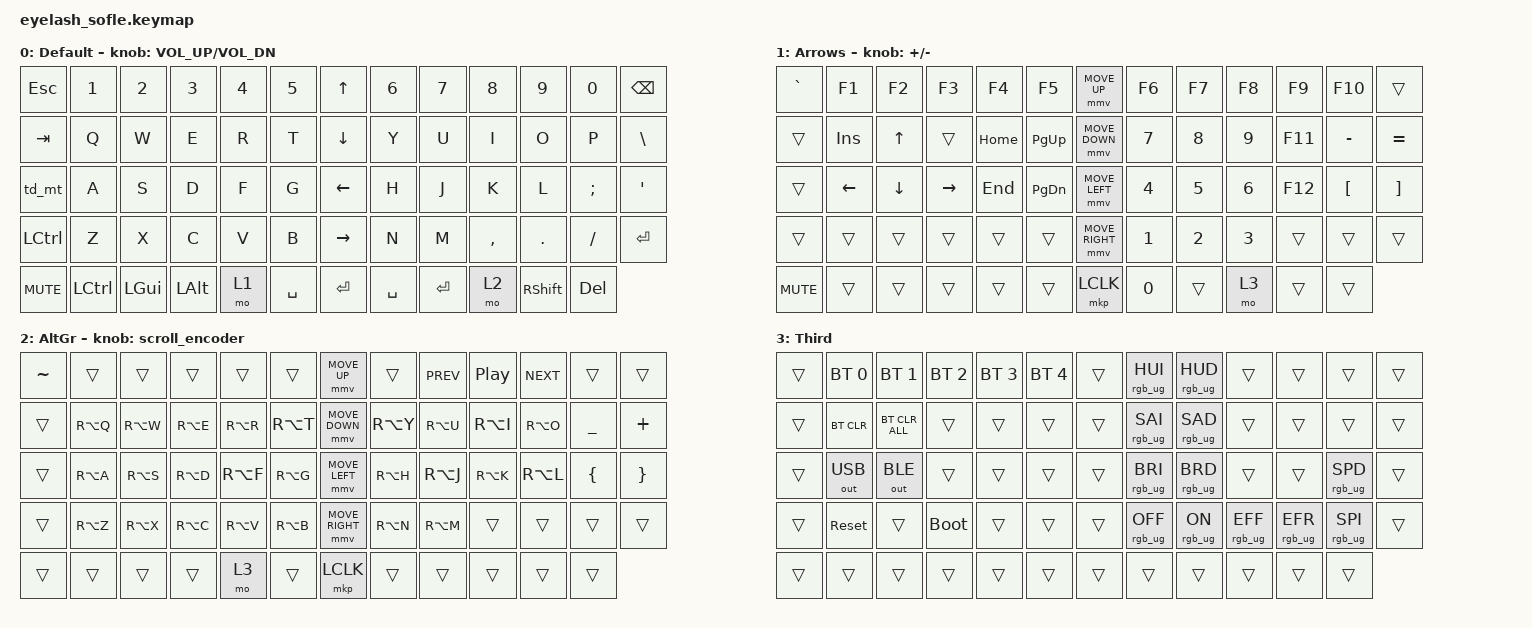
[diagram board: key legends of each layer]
#define ZMK_POINTING_DEFAULT_MOVE_VAL 1200  // 600
#define ZMK_POINTING_DEFAULT_SCRL_VAL 35    // 10
#include <input/processors.dtsi>
#include <behaviors.dtsi>
#include <dt-bindings/zmk/bt.h>
#include <dt-bindings/zmk/keys.h>
#include <dt-bindings/zmk/outputs.h>
#include <dt-bindings/zmk/pointing.h>
#include <dt-bindings/zmk/ext_power.h>
#include <dt-bindings/zmk/rgb.h>
#include <zephyr/dt-bindings/input/input-event-codes.h>

/ {
  zip_scroll_scaler: zip_scroll_scaler {
    compatible = "zmk,input-processor-scaler";
    #input-processor-cells = <2>;
    type = <INPUT_EV_REL>;
    codes = <INPUT_REL_WHEEL INPUT_REL_HWHEEL>;
    track-remainders;
  };
};

&mmv_input_listener {
       input-processors = <&zip_xy_scaler 2 1>;
};

&msc_input_listener {
       input-processors = <&zip_scroll_scaler 2 1>;
};

&msc {
    acceleration-exponent = <0>;      // 0
    time-to-max-speed-ms = <0>;       // 300
    delay-ms = <0>;                   // 0
};

&mmv {
    time-to-max-speed-ms = <400>;
    acceleration-exponent = <1>;
};


/ {
    scroll_encoder: scroll_encoder {
        compatible = "zmk,behavior-sensor-rotate";
        #sensor-binding-cells = <0>;
        bindings = <&msc SCRL_DOWN>, <&msc SCRL_UP>;

        tap-ms = <30>;
    };

    behaviors {
        td_mt: tap_dance_mod_tap {
            compatible = "zmk,behavior-tap-dance";
            #binding-cells = <0>;
            tapping-term-ms = <200>;
            bindings = <&kp LSHIFT>, <&kp CAPSLOCK>;
        };
    };

    keymap {
        compatible = "zmk,keymap";

        layer0 {
            bindings = <
&kp ESC     &kp N1     &kp N2        &kp N3        &kp N4  &kp N5       &kp UP_ARROW     &kp N6     &kp N7     &kp N8     &kp N9           &kp N0      &kp BACKSPACE
&kp TAB     &kp Q      &kp W         &kp E         &kp R   &kp T        &kp DOWN_ARROW   &kp Y      &kp U      &kp I      &kp O            &kp P       &kp BSLH
&td_mt      &kp A      &kp S         &kp D         &kp F   &kp G        &kp LEFT_ARROW   &kp H      &kp J      &kp K      &kp L            &kp SEMI    &kp APOS
&kp LCTRL   &kp Z      &kp X         &kp C         &kp V   &kp B        &kp RIGHT_ARROW  &kp N      &kp M      &kp COMMA  &kp DOT          &kp FSLH    &kp ENTER
&kp C_MUTE  &kp LCTRL  &kp LEFT_GUI  &kp LEFT_ALT  &mo 1   &kp SPACE    &kp ENTER        &kp SPACE  &kp ENTER  &mo 2      &kp RIGHT_SHIFT  &kp DELETE
            >;

            sensor-bindings = <&inc_dec_kp C_VOLUME_UP C_VOL_DN>;
            display-name = "Default";
        };

        layer_1 {
            bindings = <
&kp GRAVE   &kp F1           &kp F2          &kp F3           &kp F4           &kp F5             &mmv MOVE_UP     &kp F6           &kp F7           &kp F8      &kp F9     &kp F10           &trans
&trans      &kp INSERT       &kp UP_ARROW    &trans           &kp HOME         &kp PAGE_UP        &mmv MOVE_DOWN   &kp N7           &kp N8           &kp N9      &kp F11    &kp MINUS         &kp EQUAL
&trans      &kp LEFT_ARROW   &kp DOWN_ARROW  &kp RIGHT_ARROW  &kp END          &kp PAGE_DOWN      &mmv MOVE_LEFT   &kp N4           &kp N5           &kp N6      &kp F12    &kp LEFT_BRACKET  &kp RIGHT_BRACKET
&trans      &trans           &trans          &trans           &trans           &trans             &mmv MOVE_RIGHT  &kp N1           &kp N2           &kp N3      &trans     &trans            &trans
&kp C_MUTE  &trans           &trans          &trans           &trans           &trans             &mkp LCLK        &kp N0           &trans           &mo 3       &trans     &trans
            >;

            display-name = "Arrows";
            sensor-bindings = <&inc_dec_kp PLUS MINUS>;
        };

        layer_2 {
            bindings = <
&kp TILDE  &trans        &trans          &trans        &trans        &trans          &mmv MOVE_UP     &trans    &kp C_PREV &kp C_PP    &kp C_NEXT &trans    &trans
&trans     &kp RA(Q)     &kp RA(W)       &kp RA(E)     &kp RA(R)     &kp RA(T)       &mmv MOVE_DOWN   &kp RA(Y) &kp RA(U)  &kp RA(I)   &kp RA(O)  &kp UNDER &kp PLUS
&trans     &kp RA(A)     &kp RA(S)       &kp RA(D)     &kp RA(F)     &kp RA(G)       &mmv MOVE_LEFT   &kp RA(H) &kp RA(J)  &kp RA(K)   &kp RA(L)  &kp LBRC  &kp RBRC
&trans     &kp RA(Z)     &kp RA(X)       &kp RA(C)     &kp RA(V)     &kp RA(B)       &mmv MOVE_RIGHT  &kp RA(N) &kp RA(M)  &trans      &trans     &trans    &trans
&trans     &trans        &trans          &trans        &mo 3         &trans          &mkp LCLK        &trans    &trans     &trans      &trans     &trans
            >;

            sensor-bindings = <&scroll_encoder>;
            display-name = "AltGr";
        };

        layer_3 {
            bindings = <
&trans  &bt BT_SEL 0  &bt BT_SEL 1   &bt BT_SEL 2  &bt BT_SEL 3  &bt BT_SEL 4    &trans           &rgb_ug RGB_HUI &rgb_ug RGB_HUD  &trans           &trans           &trans           &trans
&trans  &bt BT_CLR    &bt BT_CLR_ALL &trans        &trans        &trans          &trans           &rgb_ug RGB_SAI &rgb_ug RGB_SAD  &trans           &trans           &trans           &trans
&trans  &out OUT_USB  &out OUT_BLE   &trans        &trans        &trans          &trans           &rgb_ug RGB_BRI &rgb_ug RGB_BRD  &trans           &trans           &rgb_ug RGB_SPD  &trans
&trans  &sys_reset    &trans         &bootloader   &trans        &trans          &trans           &rgb_ug RGB_OFF &rgb_ug RGB_ON   &rgb_ug RGB_EFF  &rgb_ug RGB_EFR  &rgb_ug RGB_SPI  &trans
&trans  &trans        &trans         &trans        &trans        &trans          &trans           &trans          &trans           &trans           &trans           &trans
            >;

            display-name = "Third";
        };
    };
};
